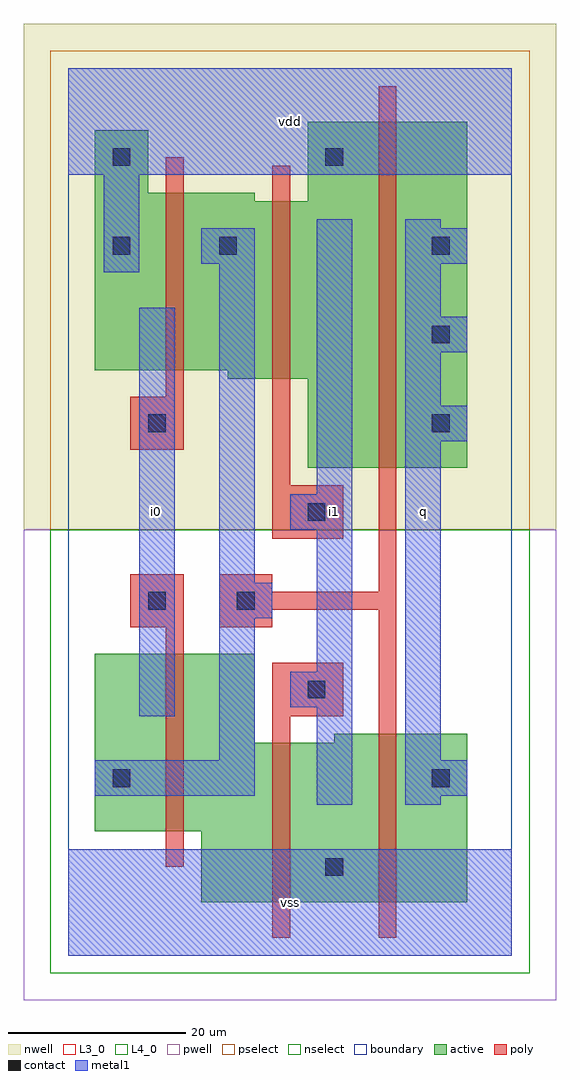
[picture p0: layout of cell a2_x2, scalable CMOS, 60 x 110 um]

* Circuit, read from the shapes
.subckt a2_x2 i0 i1 q vdd vss
M1 n1 i0 n2 VSUBS nfet w=20u l=2u
M2 vss i1 n1 VSUBS nfet w=18u l=2u
M3 q n2 vss VSUBS nfet w=19u l=2u
M4 n2 i0 vdd n3 pfet w=20u l=2u
M5 vdd i1 n2 n3 pfet w=20u l=2u
M6 q n2 vdd n3 pfet w=39u l=2u
.ends

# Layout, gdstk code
import gdstk
lib = gdstk.Library(unit=1e-6, precision=1e-09)
def R(c, l, rs):  # rectangles x0, y0, x1, y1
    for r in rs: c.add(gdstk.rectangle(r[:2], r[2:], *l))
def A(c, l, x, y, w, h, nx, ny, dx, dy):  # array of equal rectangles
    R(c, l, [(x+i*dx, y+j*dy, x+i*dx+w, y+j*dy+h) for i in range(nx) for j in range(ny)])
L3_0 = (3, 0)
L4_0 = (4, 0)
contact = (25, 0)
pwell = (41, 0)
nwell = (42, 0)
active = (43, 0)
pselect = (44, 0)
nselect = (45, 0)
poly = (46, 0)
metal1 = (49, 0)
boundary = (63, 0)

a2_x2 = lib.new_cell('a2_x2')
R(a2_x2, L3_0, [(15,6,45,14), (3,14,45,24), (3,24,21,34), (30,24,45,25)])
R(a2_x2, L4_0, [(27,55,45,65), (18,65,45,66), (3,66,45,85), (3,85,21,86), (27,85,45,94), (3,86,9,93)])
A(a2_x2, contact, 41, 59, 2, 2, 1, 3, 0, 10)
R(a2_x2, contact, [(29,9,31,11), (5,19,7,21), (41,19,43,21), (27,29,29,31), (9,39,11,41), (19,39,21,41), (27,49,29,51), (9,59,11,61), (5,79,7,81), (17,79,19,81), (5,89,7,91), (29,89,31,91)])
R(a2_x2, pwell, [(-5,-5,55,48)])
R(a2_x2, nwell, [(-5,48,55,105)])
R(a2_x2, active, [(15,6,45,14), (3,14,45,24), (3,24,21,34), (30,24,45,25), (27,55,45,65), (18,65,45,66), (3,66,45,85), (3,85,21,86), (27,85,45,94), (3,86,9,93)])
R(a2_x2, pselect, [(-2,48,52,102)])
R(a2_x2, nselect, [(-2,-2,52,48)])
R(a2_x2, poly, [(23,2,25,27), (35,2,37,39), (11,10,13,37), (23,27,31,33), (7,37,13,43), (17,37,23,39), (17,39,37,41), (17,41,23,43), (35,41,37,98), (23,47,31,53), (23,53,25,89), (7,57,13,63), (11,63,13,90)])
A(a2_x2, metal1, 38, 58, 7, 4, 1, 3, 0, 10)
R(a2_x2, metal1, [(0,0,50,12), (28,17,32,28), (38,17,42,18), (3,18,21,22), (38,18,45,22), (17,22,21,38), (38,22,42,58), (8,27,12,73), (25,28,32,32), (28,32,32,48), (17,38,23,42), (17,42,21,78), (25,48,32,52), (28,52,32,83), (38,62,42,68), (38,72,42,78), (4,77,8,88), (15,78,21,82), (38,82,42,83), (0,88,50,100)])
R(a2_x2, boundary, [(0,0,50,100)])
a2_x2.add(gdstk.Label('i0', (10,50), layer=49, texttype=0))
a2_x2.add(gdstk.Label('vss', (25,6), layer=49, texttype=0))
a2_x2.add(gdstk.Label('i1', (30,50), layer=49, texttype=0))
a2_x2.add(gdstk.Label('vdd', (25,94), layer=49, texttype=0))
a2_x2.add(gdstk.Label('q', (40,50), layer=49, texttype=0))

lib.write_gds('a2_x2.gds')
